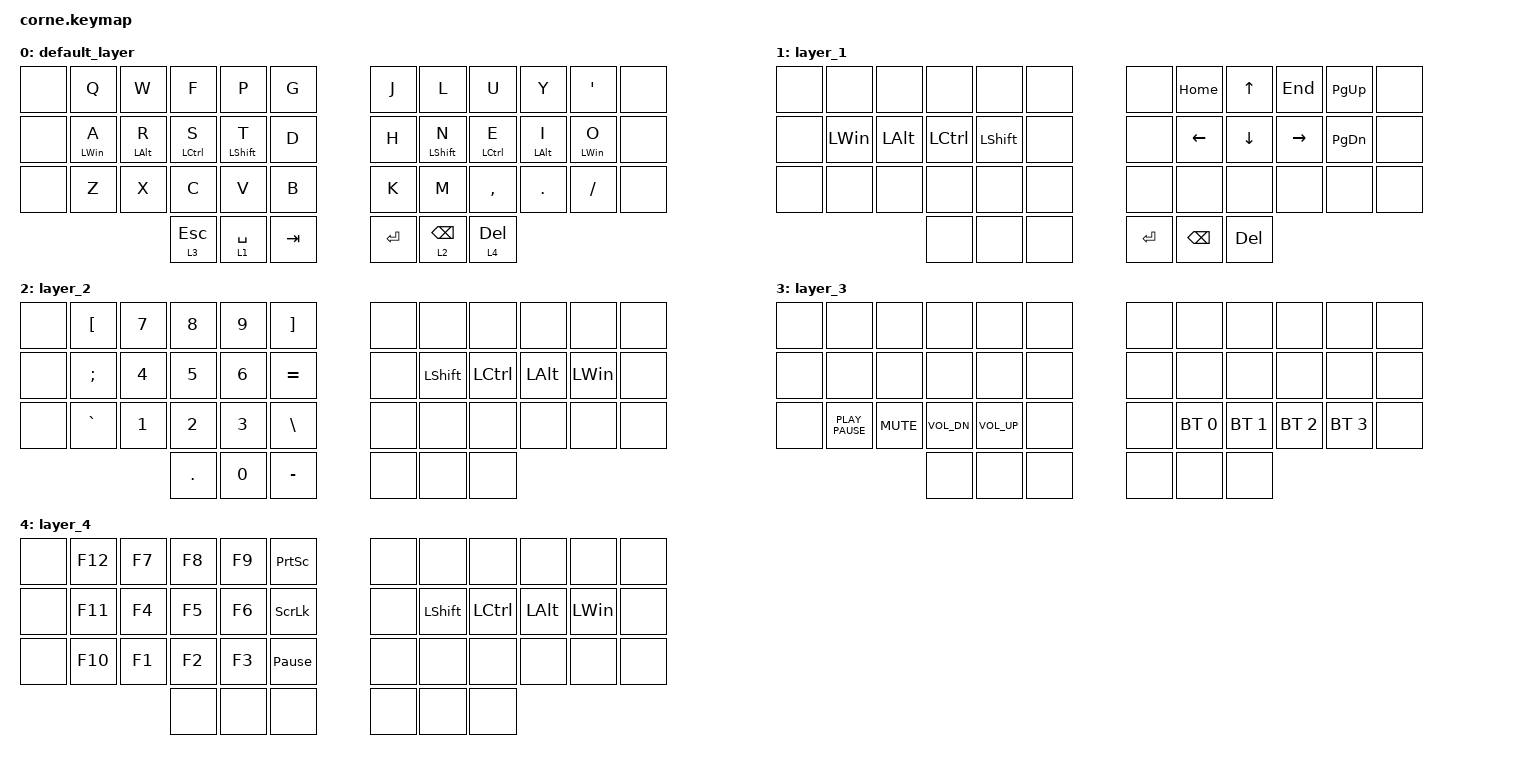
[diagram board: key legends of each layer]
/*
 * Copyright (c) 2020 The ZMK Contributors
 *
 * SPDX-License-Identifier: MIT
 */

#include <behaviors.dtsi>
#include <dt-bindings/zmk/bt.h>
#include <dt-bindings/zmk/keys.h>

&mt { flavor = "tap-preferred"; };

/ {
    keymap {
        compatible = "zmk,keymap";

        default_layer {
            // -----------------------------------------------------------------------------------------
            // |  TAB |  Q  |  W  |  E  |  R  |  T  |   |  Y  |  U   |  I  |  O  |  P  | BKSP |
            // | CTRL |  A  |  S  |  D  |  F  |  G  |   |  H  |  J   |  K  |  L  |  ;  |  '   |
            // | SHFT |  Z  |  X  |  C  |  V  |  B  |   |  N  |  M   |  ,  |  .  |  /  | ESC  |
            //                    | GUI | LWR | SPC |   | ENT | RSE  | ALT |

            bindings = <
&none  &kp Q           &kp W           &kp F               &kp P         &kp G      &kp J    &kp L             &kp U               &kp Y           &kp SQT         &none
&none  &mt LEFT_WIN A  &mt LEFT_ALT R  &mt LEFT_CONTROL S  &mt LSHIFT T  &kp D      &kp H    &mt LEFT_SHIFT N  &mt LEFT_CONTROL E  &mt LEFT_ALT I  &mt LEFT_WIN O  &none
&none  &kp Z           &kp X           &kp C               &kp V         &kp B      &kp K    &kp M             &kp COMMA           &kp DOT         &kp FSLH        &none
                                       &lt 3 ESC           &lt 1 SPACE   &kp TAB    &kp RET  &lt 2 BACKSPACE   &lt 4 DELETE
            >;
        };

        layer_1 {
            bindings = <
&none  &none         &none         &none             &none           &none    &none    &kp HOME  &kp UP    &kp END    &kp PG_UP  &none
&none  &kp LEFT_WIN  &kp LEFT_ALT  &kp LEFT_CONTROL  &kp LEFT_SHIFT  &none    &none    &kp LEFT  &kp DOWN  &kp RIGHT  &kp PG_DN  &none
&none  &none         &none         &none             &none           &none    &none    &none     &none     &none      &none      &none
                                   &none             &none           &none    &kp RET  &kp BSPC  &kp DEL
            >;
        };

        layer_2 {
            bindings = <
&none  &kp LBKT   &kp N7  &kp N8   &kp N9  &kp RBKT     &none  &none           &none             &none         &none         &none
&none  &kp SEMI   &kp N4  &kp N5   &kp N6  &kp EQUAL    &none  &kp LEFT_SHIFT  &kp LEFT_CONTROL  &kp LEFT_ALT  &kp LEFT_WIN  &none
&none  &kp GRAVE  &kp N1  &kp N2   &kp N3  &kp BSLH     &none  &none           &none             &none         &none         &none
                          &kp DOT  &kp N0  &kp MINUS    &none  &none           &none
            >;
        };

        layer_3 {
            bindings = <
&none  &none             &none       &none         &none         &none    &none  &none         &none         &none         &none         &none
&none  &none             &none       &none         &none         &none    &none  &none         &none         &none         &none         &none
&none  &kp K_PLAY_PAUSE  &kp C_MUTE  &kp C_VOL_DN  &kp C_VOL_UP  &none    &none  &bt BT_SEL 0  &bt BT_SEL 1  &bt BT_SEL 2  &bt BT_SEL 3  &none
                                     &none         &none         &none    &none  &none         &none
            >;
        };

        layer_4 {
            bindings = <
&none  &kp F12  &kp F7  &kp F8  &kp F9  &kp PRINTSCREEN    &none  &none           &none             &none         &none         &none
&none  &kp F11  &kp F4  &kp F5  &kp F6  &kp SCROLLLOCK     &none  &kp LEFT_SHIFT  &kp LEFT_CONTROL  &kp LEFT_ALT  &kp LEFT_WIN  &none
&none  &kp F10  &kp F1  &kp F2  &kp F3  &kp PAUSE_BREAK    &none  &none           &none             &none         &none         &none
                        &none   &none   &none              &none  &none           &none
            >;
        };
    };
};
